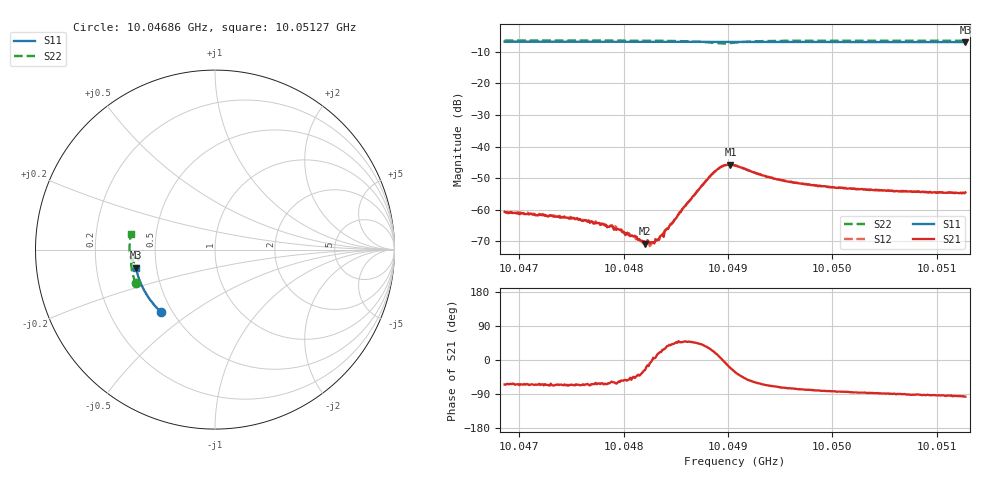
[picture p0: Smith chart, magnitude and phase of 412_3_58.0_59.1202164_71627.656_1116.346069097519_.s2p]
#  HZ  S  RI  R  50.00
! Rohde & Schwarz Vector Network Analyzer
! Rohde-Schwarz,ZNB20-2Port,1311601062101988,3.16
! Created: UTC 3/21/2024, 1:08:48 AM
! freq[Hz]  re:S11  im:S11  re:S21  im:S21  re:S12  im:S12  re:S22  im:S22
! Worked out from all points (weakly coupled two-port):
!   401 points, 10.04686 GHz to 10.05127 GHz, reference 50 ohm
!   highest |S21| = -45.71 dB at 10.04902 GHz (marker M1); lowest = -70.7 dB at 10.04821 GHz (marker M2)
!   lowest |S11| = -6.9 dB at 10.05127 GHz (marker M3), VSWR 2.65, Z = 19.1 - j4.81 ohm
!   |S11| at or under -10 dB: nowhere
!   |S22| runs from -7.3 to -6.4 dB; largest |S21 - S12| = 0.00037
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1.0046861e10  -0.3003 -0.3483  0.000398 -0.00084  0.00045 -0.000798  -0.4416 -0.1882
1.0047247e10  -0.3186 -0.3305  0.000356 -0.000719  0.00042 -0.000712  -0.4507 -0.1635
1.00476e10  -0.3344 -0.3133  0.000275 -0.000613  0.000345 -0.00058  -0.4576 -0.1403
1.004781e10  -0.3433 -0.3029  0.000254 -0.00053  0.000285 -0.000527  -0.461 -0.1257
1.0047909e10  -0.3475 -0.2978  0.000248 -0.000414  0.000303 -0.000408  -0.4625 -0.1187
1.0048108e10  -0.3555 -0.2876  0.000262 -0.000286  0.000318 -0.00025  -0.465 -0.1043
1.0048185e10  -0.3586 -0.2834  0.000271 -0.000166  0.000264 -0.000132  -0.4657 -0.0984
1.0048207e10  -0.3595 -0.2823  0.00026 -0.000129  0.00027 -0.00013  -0.4658 -0.0967
1.0048273e10  -0.362 -0.2788  0.000307 -6.25e-06  0.0003 -2.19e-05  -0.4663 -0.0914
1.0048339e10  -0.3646 -0.2754  0.000317 0.000104  0.000321 0.00013  -0.4665 -0.0859
1.0048406e10  -0.3671 -0.2716  0.000406 0.000261  0.000388 0.000301  -0.4663 -0.0803
1.0048461e10  -0.3692 -0.2687  0.000457 0.000402  0.000392 0.000442  -0.4661 -0.0756
1.0048582e10  -0.3735 -0.262  0.000742 0.000841  0.000699 0.000863  -0.4641 -0.064
1.0048847e10  -0.3828 -0.2472  0.00332 0.00156  0.00322 0.00178  -0.4402 -0.0433
1.0048935e10  -0.3855 -0.2422  0.00479 0.000307  0.00475 0.000619  -0.4281 -0.0518
1.0049023e10  -0.3882 -0.2375  0.00483 -0.00187  0.00499 -0.00154  -0.4311 -0.0671
1.0049067e10  -0.3896 -0.2351  0.00426 -0.00263  0.00445 -0.00238  -0.4378 -0.071
1.0049387e10  -0.4 -0.2167  0.00129 -0.00305  0.00147 -0.00297  -0.4686 -0.0498
1.0049806e10  -0.4118 -0.1918  0.000478 -0.00241  0.000575 -0.00238  -0.4754 -0.0152
1.0050038e10  -0.4177 -0.1776  0.000244 -0.00221  0.000417 -0.00224  -0.4764 0.00199
1.0050546e10  -0.4289 -0.1464  7.54e-06 -0.002  0.000155 -0.00199  -0.4751 0.0376
1.0051274e10  -0.4408 -0.1003  -0.000218 -0.00187  -7.1e-05 -0.00185  -0.4684 0.0861
